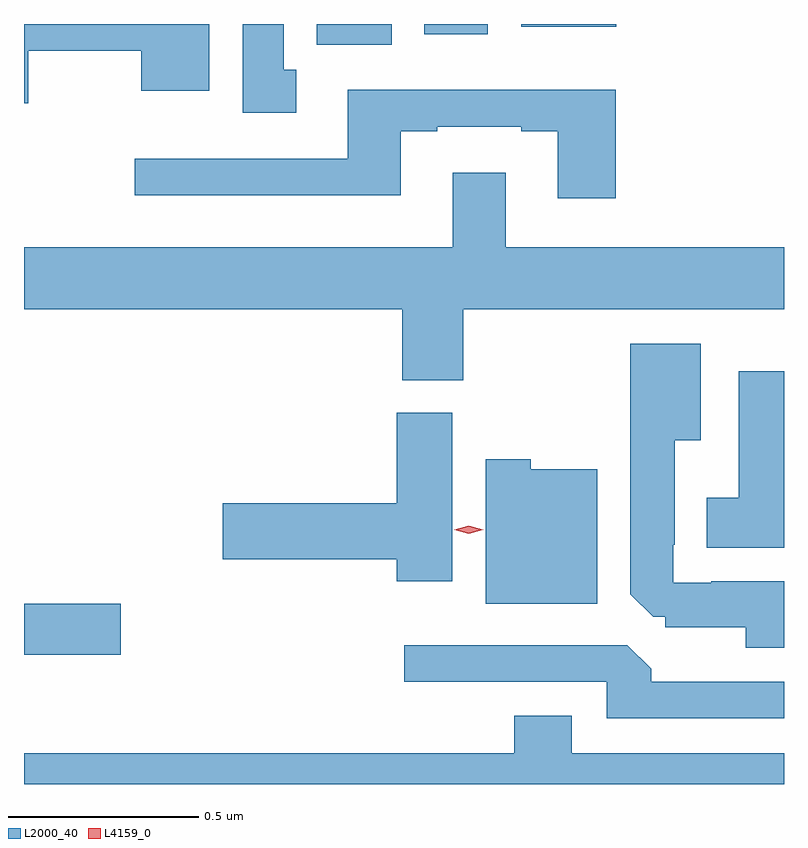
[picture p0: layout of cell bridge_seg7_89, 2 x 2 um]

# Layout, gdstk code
import gdstk
lib = gdstk.Library(unit=1e-6, precision=1e-09)
def R(c, l, rs):  # rectangles x0, y0, x1, y1
    for r in rs: c.add(gdstk.rectangle(r[:2], r[2:], *l))
def P(c, l, *ps):  # polygons
    for p in ps: c.add(gdstk.Polygon(p, *l))
L2000_40 = (2000, 40)
L4159_0 = (4159, 0)

bridge_seg7_89 = lib.new_cell('bridge_seg7_89')
R(bridge_seg7_89, L2000_40, [(1032.389,1001.039,1032.643,1001.174), (1033.16,1002.644,1033.357,1002.699), (1033.442,1002.672,1033.609,1002.699), (1033.697,1002.692,1033.948,1002.699)])
P(bridge_seg7_89, L2000_40, [(1033.105,1002.578),(1033.072,1002.578),(1033.072,1002.699),(1032.965,1002.699),(1032.965,1002.465),(1033.105,1002.465)],
  [(1032.4,1002.628),(1032.698,1002.628),(1032.698,1002.524),(1032.877,1002.524),(1032.877,1002.699),(1032.389,1002.699),(1032.389,1002.491),(1032.4,1002.491)],
  [(1033.946,1002.526),(1033.241,1002.526),(1033.241,1002.345),(1032.68,1002.345),(1032.68,1002.248),(1033.381,1002.248),(1033.381,1002.417),(1033.477,1002.417),(1033.477,1002.429),(1033.697,1002.429),(1033.697,1002.417),(1033.793,1002.417),(1033.793,1002.24),(1033.946,1002.24)],
  [(1033.545,1001.948),(1034.389,1001.948),(1034.389,1002.112),(1033.657,1002.112),(1033.657,1002.307),(1033.517,1002.307),(1033.517,1002.112),(1032.389,1002.112),(1032.389,1001.948),(1033.385,1001.948),(1033.385,1001.761),(1033.545,1001.761)],
  [(1034.389,1001.233),(1034.197,1001.233),(1034.197,1001.229),(1034.097,1001.229),(1034.097,1001.329),(1034.101,1001.329),(1034.101,1001.603),(1034.17,1001.603),(1034.17,1001.857),(1033.985,1001.857),(1033.985,1001.199),(1034.045,1001.139),(1034.076,1001.139),(1034.076,1001.111),(1034.288,1001.111),(1034.288,1001.057),(1034.389,1001.057)],
  [(1034.389,1001.785),(1034.27,1001.785),(1034.27,1001.452),(1034.186,1001.452),(1034.186,1001.321),(1034.389,1001.321)],
  [(1033.516,1001.676),(1033.37,1001.676),(1033.37,1001.438),(1032.912,1001.438),(1032.912,1001.291),(1033.37,1001.291),(1033.37,1001.232),(1033.516,1001.232)],
  [(1033.897,1001.527),(1033.722,1001.527),(1033.722,1001.554),(1033.604,1001.554),(1033.604,1001.174),(1033.897,1001.174)],
  [(1034.389,1000.968),(1034.039,1000.968),(1034.039,1001.002),(1033.977,1001.064),(1033.389,1001.064),(1033.389,1000.968),(1033.923,1000.968),(1033.923,1000.872),(1034.389,1000.872)],
  [(1034.389,1000.78),(1033.831,1000.78),(1033.831,1000.879),(1033.679,1000.879),(1033.679,1000.78),(1032.389,1000.78),(1032.389,1000.699),(1034.389,1000.699)])
P(bridge_seg7_89, L4159_0, [(1033.559,1001.358),(1033.521,1001.368),(1033.521,1001.368),(1033.521,1001.368),(1033.559,1001.378),(1033.597,1001.368),(1033.597,1001.368),(1033.597,1001.368)])

lib.write_gds('bridge_seg7_89.gds')
